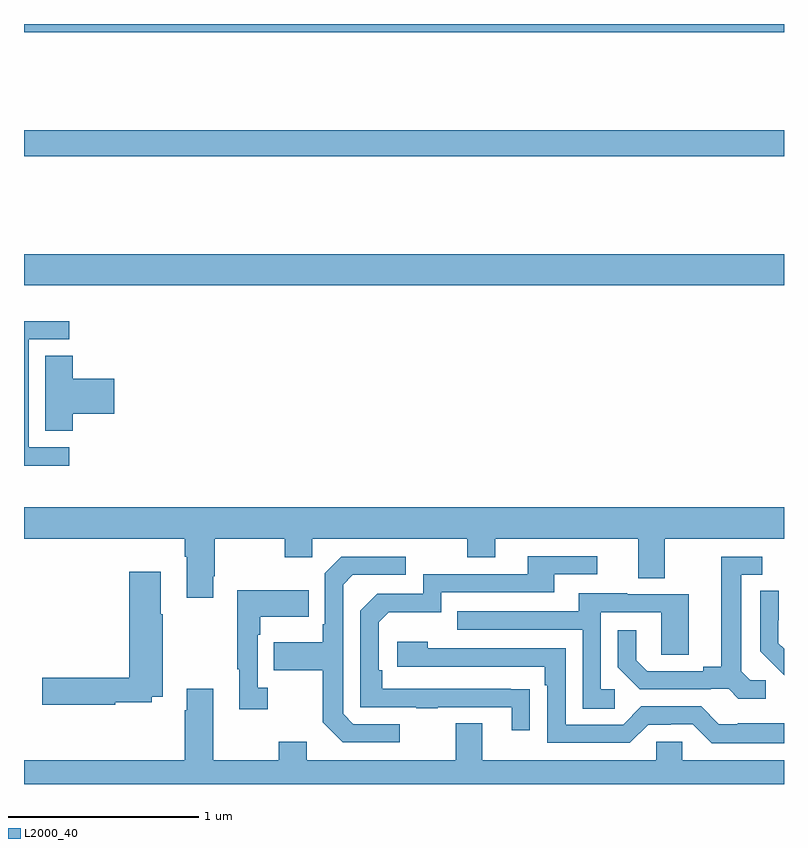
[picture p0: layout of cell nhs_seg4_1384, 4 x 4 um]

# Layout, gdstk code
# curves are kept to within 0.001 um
import gdstk
lib = gdstk.Library(unit=1e-6, precision=1e-09)
def R(c, l, rs):  # rectangles x0, y0, x1, y1
    for r in rs: c.add(gdstk.rectangle(r[:2], r[2:], *l))
def P(c, l, *ps):  # polygons
    for p in ps: c.add(gdstk.Polygon(p, *l))
L2000_40 = (2000, 40)

nhs_seg4_1384 = lib.new_cell('nhs_seg4_1384')
R(nhs_seg4_1384, L2000_40, [(183,759.524,187,759.688), (183,760.204,187,760.34), (183,760.856,187,760.9)])
P(nhs_seg4_1384, L2000_40, [(183.238,758.673),(183.024,758.673),(183.024,759.24),(183.238,759.24),(183.238,759.336),(183,759.336),(183,758.575),(183.238,758.575)],
  [(183.257,758.849),(183.475,758.849),(183.475,759.032),(183.257,759.032),(183.257,759.155),(183.113,759.155),(183.113,758.758),(183.257,758.758)],
  [(183.997,757.993),(184.005,757.993),(184.005,758.192),(184.372,758.192),(184.372,758.093),(184.518,758.093),(184.518,758.192),(185.332,758.192),(185.332,758.093),(185.479,758.093),(185.479,758.192),(186.233,758.192),(186.233,757.984),(186.373,757.984),(186.373,758.192),(187,758.192),(187,758.356),(183,758.356),(183,758.192),(183.845,758.192),(183.845,758.096),(183.857,758.096),(183.857,757.881),(183.997,757.881)],
  [(185.663,757.4),(184.886,757.401),(184.886,757.498),(184.866,757.498),(184.866,757.752),(184.919,757.805),(185.196,757.805),(185.196,757.908),(185.791,757.908),(185.791,758.004),(186.016,758.004),(186.016,758.1),(185.651,758.1),(185.651,758.004),(185.1,758.004),(185.1,757.902),(184.86,757.902),(184.77,757.812),(184.77,757.305),(185.065,757.305),(185.065,757.3),(185.177,757.3),(185.177,757.305),(185.567,757.305),(185.567,757.182),(185.663,757.182)],
  [(186.904,757.446),(186.822,757.446),(186.775,757.493),(186.775,758.001),(186.886,758.001),(186.886,758.097),(186.671,758.097),(186.671,757.517),(186.575,757.517),(186.575,757.494),(186.28,757.494),(186.223,757.551),(186.223,757.708),(186.126,757.708),(186.126,757.514),(186.242,757.398),(186.614,757.398),(186.614,757.401),(186.708,757.401),(186.76,757.349),(186.904,757.349)],
  [(184.978,757.215),(184.734,757.215),(184.68,757.269),(184.68,757.95),(184.731,758.001),(185.008,758.001),(185.008,758.097),(184.671,758.097),(184.584,758.01),(184.584,757.741),(184.572,757.741),(184.572,757.645),(184.315,757.645),(184.315,757.498),(184.572,757.498),(184.572,757.225),(184.677,757.119),(184.978,757.119)],
  [(183.48,757.33),(183.672,757.33),(183.672,757.358),(183.729,757.358),(183.729,757.793),(183.721,757.793),(183.721,758.017),(183.554,758.017),(183.554,757.46),(183.096,757.46),(183.096,757.318),(183.48,757.318)],
  [(184.282,757.406),(184.23,757.406),(184.23,757.685),(184.243,757.685),(184.243,757.781),(184.499,757.781),(184.499,757.921),(184.122,757.921),(184.122,757.505),(184.133,757.505),(184.133,757.293),(184.282,757.293)],
  [(187,757.611),(186.971,757.64),(186.971,757.762),(186.972,757.762),(186.972,757.916),(186.876,757.916),(186.876,757.598),(186.949,757.525),(186.948,757.524),(187,757.472)],
  [(186.109,757.398),(186.036,757.398),(186.036,757.803),(186.354,757.803),(186.354,757.579),(186.499,757.579),(186.499,757.899),(186.175,757.899),(186.175,757.903),(185.921,757.903),(185.921,757.809),(185.281,757.809),(185.281,757.713),(185.94,757.713),(185.94,757.297),(186.109,757.297)],
  [(187,757.219),(186.757,757.219),(186.757,757.215),(186.657,757.215),(186.564,757.308),(186.249,757.308),(186.153,757.212),(185.85,757.212),(185.85,757.614),(185.126,757.614),(185.126,757.648),(184.965,757.648),(184.965,757.518),(185.741,757.518),(185.741,757.421),(185.754,757.421),(185.754,757.116),(186.189,757.116),(186.285,757.212),(186.404,757.212),(186.404,757.215),(186.519,757.215),(186.619,757.115),(187,757.115)],
  [(187,757.024),(186.465,757.024),(186.465,757.122),(186.327,757.122),(186.327,757.024),(185.413,757.024),(185.413,757.219),(185.273,757.219),(185.273,757.024),(184.489,757.024),(184.489,757.123),(184.342,757.123),(184.342,757.024),(183.997,757.024),(183.997,757.402),(183.857,757.402),(183.857,757.289),(183.845,757.289),(183.845,757.024),(183,757.024),(183,756.9),(187,756.9)])

lib.write_gds('nhs_seg4_1384.gds')
